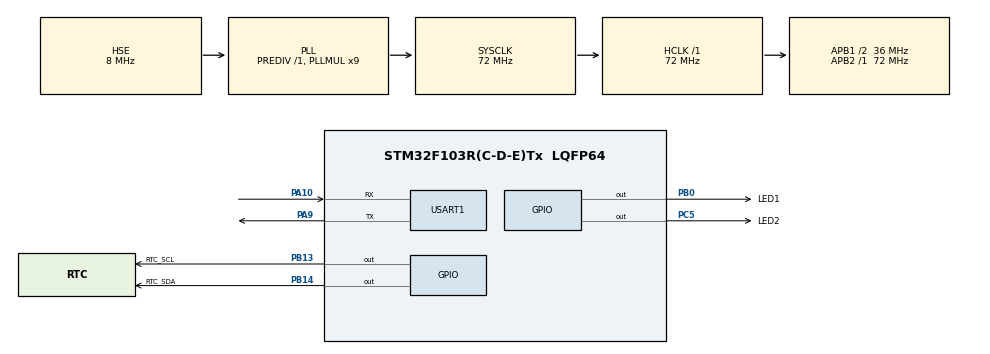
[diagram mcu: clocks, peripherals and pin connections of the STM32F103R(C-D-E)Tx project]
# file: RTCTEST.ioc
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Mcu.Family=STM32F1
Mcu.Name=STM32F103R(C-D-E)Tx
Mcu.Package=LQFP64
NVIC.PriorityGroup=NVIC_PRIORITYGROUP_4
NVIC.USART1_IRQn=true\:0\:0\:false\:false\:true\:true\:true
PA10.Mode=Asynchronous
PA10.Signal=USART1_RX
PA13.Mode=Serial_Wire
PA13.Signal=SYS_JTMS-SWDIO
PA14.Mode=Serial_Wire
PA14.Signal=SYS_JTCK-SWCLK
PA9.Mode=Asynchronous
PA9.Signal=USART1_TX
PB0.GPIO_Label=LED1
PB0.PinState=GPIO_PIN_SET
PB0.Signal=GPIO_Output
PB13.GPIO_Label=RTC_SCL
PB13.GPIO_ModeDefaultOutputPP=GPIO_MODE_OUTPUT_OD
PB13.GPIO_PuPd=GPIO_NOPULL
PB13.GPIO_Speed=GPIO_SPEED_FREQ_HIGH
PB13.PinState=GPIO_PIN_SET
PB13.Signal=GPIO_Output
PB14.GPIO_Label=RTC_SDA
PB14.GPIO_ModeDefaultOutputPP=GPIO_MODE_OUTPUT_OD
PB14.GPIO_PuPd=GPIO_NOPULL
PB14.GPIO_Speed=GPIO_SPEED_FREQ_HIGH
PB14.PinState=GPIO_PIN_SET
PB14.Signal=GPIO_Output
PC5.GPIO_Label=LED2
PC5.Signal=GPIO_Output
PD0-OSC_IN.Mode=HSE-External-Oscillator
PD0-OSC_IN.Signal=RCC_OSC_IN
PD1-OSC_OUT.Mode=HSE-External-Oscillator
PD1-OSC_OUT.Signal=RCC_OSC_OUT
ProjectManager.HeapSize=0x200
ProjectManager.StackSize=0x400
ProjectManager.TargetToolchain=MDK-ARM V5.32
RCC.AHBFreq_Value=72000000
RCC.APB1CLKDivider=RCC_HCLK_DIV2
RCC.APB1Freq_Value=36000000
RCC.APB1TimFreq_Value=72000000
RCC.APB2Freq_Value=72000000
RCC.APB2TimFreq_Value=72000000
RCC.HCLKFreq_Value=72000000
RCC.PLLMUL=RCC_PLL_MUL9
RCC.PLLSourceVirtual=RCC_PLLSOURCE_HSE
RCC.SYSCLKFreq_VALUE=72000000
RCC.SYSCLKSource=RCC_SYSCLKSOURCE_PLLCLK
RCC.USBFreq_Value=72000000
USART1.VirtualMode=VM_ASYNC
board=custom

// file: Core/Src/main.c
/* USER CODE BEGIN Header */
/**
  ******************************************************************************
  * @file           : main.c
  * @brief          : Main program body
  ******************************************************************************
  * @attention
  *
  * Copyright (c) 2022 STMicroelectronics.
  * All rights reserved.
  *
  * This software is licensed under terms that can be found in the LICENSE file
  * in the root directory of this software component.
  * If no LICENSE file comes with this software, it is provided AS-IS.
  *
  ******************************************************************************
  */
/* USER CODE END Header */
#include "main.h"

/* USER CODE BEGIN Includes */
#include <stdio.h>
#include <stdlib.h>
#include "sw_i2c.h"
/* USER CODE END Includes */

UART_HandleTypeDef huart1;

/* USER CODE BEGIN PV */
uint8_t data;
/* USER CODE END PV */

void SystemClock_Config(void);
static void MX_GPIO_Init(void);
static void MX_USART1_UART_Init(void);

/* USER CODE BEGIN PFP */

#ifdef __GNUC__
#define PUTCHAR_PROTOTYPE int __io_putchar(int ch)
#else
#define PUTCHAR_PROTOTYPE int fputc(int ch, FILE *f)
#endif
/* USER CODE END PFP */

/* USER CODE BEGIN 0 */
PUTCHAR_PROTOTYPE {
	if (ch == '\n')
		HAL_UART_Transmit(&huart1, "\r\n", 2, 1000);
	else
		HAL_UART_Transmit(&huart1, (uint8_t*)&ch, 1, 1000);
  return ch;
}
/* USER CODE END 0 */

int main(void)
{

  /* MCU Configuration--------------------------------------------------------*/

  /* Reset of all peripherals, Initializes the Flash interface and the Systick. */
  HAL_Init();

  /* Configure the system clock */
  SystemClock_Config();

  /* Initialize all configured peripherals */
  MX_GPIO_Init();
  MX_USART1_UART_Init();
  /* USER CODE BEGIN 2 */
  printf("\n\nCheck RTC Bus\n");

  swI2CBusInit();
  #if 0
  {
    const uint8_t initcode[] = { 0, 1 << 5, ((uint8_t)1 << 6) };
    const uint8_t initDate[] = { 0, 0, 0, 0, 1, 1, 1, };
    rtcI2CWriteBytes(0x32, 0x0D, initcode, 3);
    rtcI2CWriteBytes(0x32, 0x0, initDate, 7);
  }
  #endif
  {
    uint8_t array[4] = { 0 };
    array[0] = swI2CReadByte(0x32, 0x0E);
    swI2CReadBytes(0x32, 0xE, array, 2);
  }

  data = swI2CReadByte(0x32, 0xE);
  printf("Address: 0x0E, value:0x%02x\n", data);
  data = swI2CReadByte(0x32, 0xF);

  printf("Address: 0x0F, value:0x%02x\n", data);
  while(1)
  {
    uint8_t array[10] = { 0 };
    swI2CReadBytes(0x32, 0, array, 8);
    printf("\n%02x %02x %02x %02x ", array[0], array[1], array[2], array[3]);
    printf("%02x %02x %02x %02x\n", array[4], array[5], array[6], array[7]);
  }

  /* USER CODE END 2 */

  /* Infinite loop */
  while (1)
  {

  }
}

void SystemClock_Config(void)
{
  RCC_OscInitTypeDef RCC_OscInitStruct = {0};
  RCC_ClkInitTypeDef RCC_ClkInitStruct = {0};

  /** Initializes the RCC Oscillators according to the specified parameters
  * in the RCC_OscInitTypeDef structure.
  */
  RCC_OscInitStruct.OscillatorType = RCC_OSCILLATORTYPE_HSE;
  RCC_OscInitStruct.HSEState = RCC_HSE_ON;
  RCC_OscInitStruct.HSEPredivValue = RCC_HSE_PREDIV_DIV1;
  RCC_OscInitStruct.HSIState = RCC_HSI_ON;
  RCC_OscInitStruct.PLL.PLLState = RCC_PLL_ON;
  RCC_OscInitStruct.PLL.PLLSource = RCC_PLLSOURCE_HSE;
  RCC_OscInitStruct.PLL.PLLMUL = RCC_PLL_MUL9;
  if (HAL_RCC_OscConfig(&RCC_OscInitStruct) != HAL_OK)
  {
    Error_Handler();
  }
  /** Initializes the CPU, AHB and APB buses clocks
  */
  RCC_ClkInitStruct.ClockType = RCC_CLOCKTYPE_HCLK|RCC_CLOCKTYPE_SYSCLK
                              |RCC_CLOCKTYPE_PCLK1|RCC_CLOCKTYPE_PCLK2;
  RCC_ClkInitStruct.SYSCLKSource = RCC_SYSCLKSOURCE_PLLCLK;
  RCC_ClkInitStruct.AHBCLKDivider = RCC_SYSCLK_DIV1;
  RCC_ClkInitStruct.APB1CLKDivider = RCC_HCLK_DIV2;
  RCC_ClkInitStruct.APB2CLKDivider = RCC_HCLK_DIV1;

  if (HAL_RCC_ClockConfig(&RCC_ClkInitStruct, FLASH_LATENCY_2) != HAL_OK)
  {
    Error_Handler();
  }
}

static void MX_USART1_UART_Init(void)
{

  huart1.Instance = USART1;
  huart1.Init.BaudRate = 115200;
  huart1.Init.WordLength = UART_WORDLENGTH_8B;
  huart1.Init.StopBits = UART_STOPBITS_1;
  huart1.Init.Parity = UART_PARITY_NONE;
  huart1.Init.Mode = UART_MODE_TX_RX;
  huart1.Init.HwFlowCtl = UART_HWCONTROL_NONE;
  huart1.Init.OverSampling = UART_OVERSAMPLING_16;
  if (HAL_UART_Init(&huart1) != HAL_OK)
  {
    Error_Handler();
  }

}

static void MX_GPIO_Init(void)
{
  GPIO_InitTypeDef GPIO_InitStruct = {0};

  /* GPIO Ports Clock Enable */
  __HAL_RCC_GPIOD_CLK_ENABLE();
  __HAL_RCC_GPIOC_CLK_ENABLE();
  __HAL_RCC_GPIOB_CLK_ENABLE();
  __HAL_RCC_GPIOA_CLK_ENABLE();

  /*Configure GPIO pin Output Level */
  HAL_GPIO_WritePin(LED2_GPIO_Port, LED2_Pin, GPIO_PIN_SET);

  /*Configure GPIO pin Output Level */
  HAL_GPIO_WritePin(GPIOB, LED1_Pin|RTC_SCL_Pin|RTC_SDA_Pin, GPIO_PIN_SET);

  /*Configure GPIO pin : LED2_Pin */
  GPIO_InitStruct.Pin = LED2_Pin;
  GPIO_InitStruct.Mode = GPIO_MODE_OUTPUT_PP;
  GPIO_InitStruct.Pull = GPIO_NOPULL;
  GPIO_InitStruct.Speed = GPIO_SPEED_FREQ_LOW;
  HAL_GPIO_Init(LED2_GPIO_Port, &GPIO_InitStruct);

  /*Configure GPIO pin : LED1_Pin */
  GPIO_InitStruct.Pin = LED1_Pin;
  GPIO_InitStruct.Mode = GPIO_MODE_OUTPUT_PP;
  GPIO_InitStruct.Pull = GPIO_NOPULL;
  GPIO_InitStruct.Speed = GPIO_SPEED_FREQ_LOW;
  HAL_GPIO_Init(LED1_GPIO_Port, &GPIO_InitStruct);

  /*Configure GPIO pins : RTC_SCL_Pin RTC_SDA_Pin */
  GPIO_InitStruct.Pin = RTC_SCL_Pin|RTC_SDA_Pin;
  GPIO_InitStruct.Mode = GPIO_MODE_OUTPUT_OD;
  GPIO_InitStruct.Pull = GPIO_NOPULL;
  GPIO_InitStruct.Speed = GPIO_SPEED_FREQ_HIGH;
  HAL_GPIO_Init(GPIOB, &GPIO_InitStruct);

}

void Error_Handler(void)
{
  __disable_irq();
  while (1)
  {
  }
}
